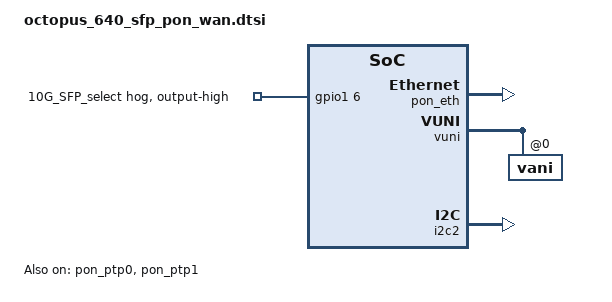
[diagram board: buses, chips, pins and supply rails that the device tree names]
// SPDX-License-Identifier: GPL-2.0
/*
 * Copyright (C) 2021-2024 MaxLinear, Inc.
 */

/* Select 10G PHY WAN */
&gpio1 {
	10GSFP_gpio38 {
		gpio-hog;
		gpios = <6 GPIO_ACTIVE_HIGH>;
		output-high;
		line-name = "10G_SFP_select";
	};
};

/ {
	wan {
		ifname = "VANI0";
	};
};

&pon_eth {
	status = "okay";
};

&pon_ptp0 {
	status = "okay";
};

&pon_ptp1 {
	status = "okay";
};

&lpid_config {
	mxl,wan-mode = <LPID_WAN_PON>;
};

&ponmbox {
	status = "okay";
	/* I2C bus to the optical WAN transceiver */
	sfp = <&i2c2>;
};

&vuni {
	status = "okay";
	vani@0 {
		mxl,extra-subif = "VANI0", "VUNI0_0", "VUNI0_1", "VUNI0_2";
		mxl,extra-subif-type = <SUBIF_VANI0_0 SUBIF_VUNI0_0 SUBIF_VUNI0_1 SUBIF_VUNI0_2>;
		mxl,extra-subif-domain = <VUNI_BR_DOMAIN_NO VUNI_BR_DOMAIN_UC VUNI_BR_DOMAIN_MC VUNI_BR_DOMAIN_BC>;
		mxl,num_ip_host = <2>;
	};
};

&i2c2 {
	status = "okay";
};

&cqm_lgm {
	mxl,sram-size = <0x2eb00>;
};

&toe {
	mxl,sram-size = <0x51500>;
};

&ppv4 {
	qos@1000000 {
		wred-total-resources = <425984>;
	};
};

&gsw_mac0 {
	/* allow small packets for extended OMCI messaging */
	err-pkt-fwd-undersized;
	// err-pkt-fwd-errored;
};

#define CQM_SSB_SIZE (0xe900)
#define TOE_SSB_SIZE (0x80000 - CQM_SSB_SIZE)
&reserved_mem {
	toe_ssb_memaxi: memaxi {
		reg = <(0xbff00000 + CQM_SSB_SIZE) TOE_SSB_SIZE>;
	};
};

&toe {
	mxl,sram-gb = <7>;
	memory-region = <&toe_ssb_memaxi>;
	mxl,oc-mode = <0>;
};

&cqm_sram {
	reg = <0x0 CQM_SSB_SIZE>;
};

&toe_sram {
	reg = <CQM_SSB_SIZE TOE_SSB_SIZE>;
};
